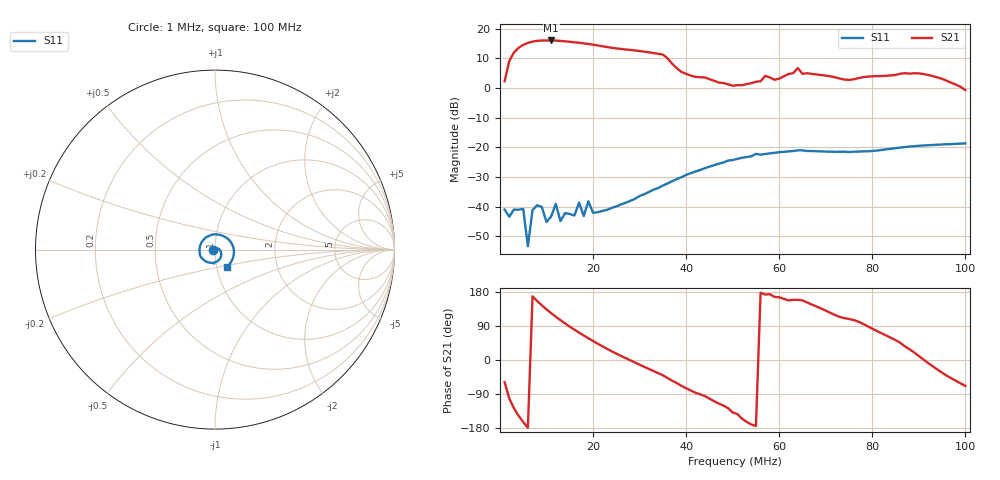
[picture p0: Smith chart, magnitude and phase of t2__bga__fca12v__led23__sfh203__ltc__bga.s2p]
# HZ S RI R 50
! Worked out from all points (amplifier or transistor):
!   100 points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, 1 MHz to 100 MHz, reference 50 ohm
!   highest |S21| = 16.0 dB at 11 MHz (marker M1)
!   |S21| within 3 dB of that: 3.678 MHz to 26.84 MHz (23.17 MHz wide, 152 % of centre)
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1000001  -0.00895 0.000258  0.6796 -1.107  0 0  0 0
2000001  0.00621 -0.00276  -0.5676 -2.796  0 0  0 0
3000001  -0.00889 0.00096  -2.395 -3.151  0 0  0 0
5000001  -0.00708 -0.00582  -5.119 -1.484  0 0  0 0
6000001  0.000889 0.00197  -5.759 -0.1211  0 0  0 0
8000001  -0.00982 0.004  -5.675 2.578  0 0  0 0
1.1e7  -0.00453 0.00517  -3.503 5.274  0 0  0 0
1.4e7  -0.00479 0.00616  -0.684 6.088  0 0  0 0
1.8e7  -0.00332 0.00611  2.419 5.105  0 0  0 0
2.1e7  -0.000265 0.0081  3.813 3.564  0 0  0 0
2.5e7  0.00463 0.00901  4.449 1.346  0 0  0 0
2.9e7  0.0108 0.00816  4.266 -0.4922  0 0  0 0
3.4e7  0.0204 0.00364  3.099 -2.149  0 0  0 0
3.6e7  0.0247 0.00025  2.147 -2.344  0 0  0 0
3.9e7  0.0305 -0.00769  0.6871 -1.731  0 0  0 0
5.1e7  0.0173 -0.0615  -0.8865 -0.6806  0 0  0 0
6.4e7  -0.0792 -0.0407  -2.02 0.7811  0 0  0 0
6.7e7  -0.0865 -0.00422  -1.442 0.9577  0 0  0 0
8.4e7  0.0771 0.0548  0.8518 1.392  0 0  0 0
9.1e7  0.1051 -0.0235  1.721 0.0303  0 0  0 0
9.5e7  0.0934 -0.0613  1.189 -0.7895  0 0  0 0
1e8  0.0675 -0.0951  0.3406 -0.8569  0 0  0 0
